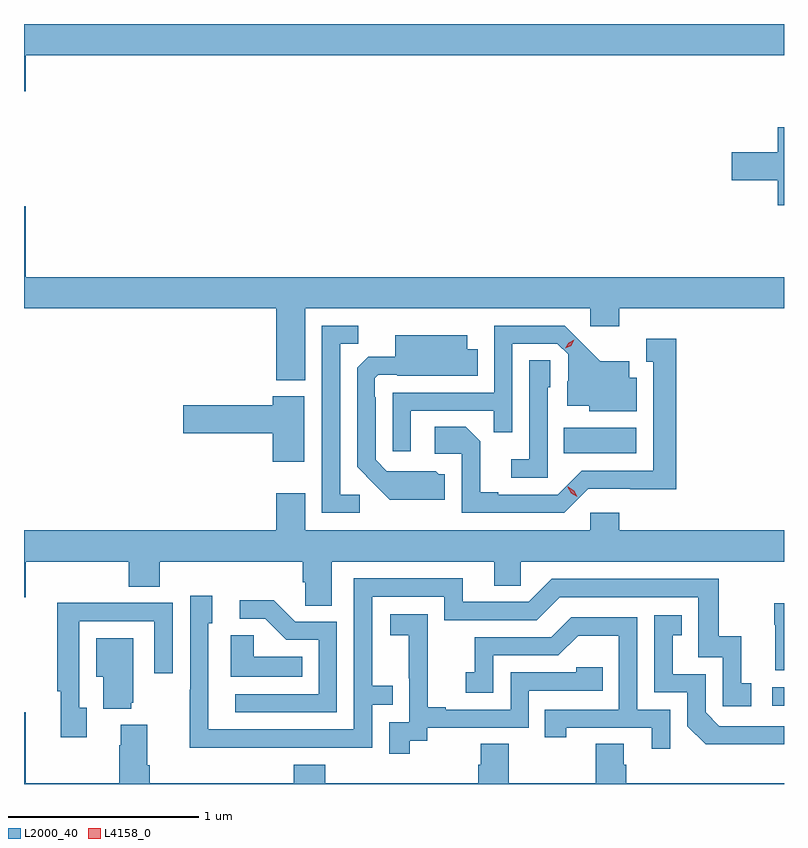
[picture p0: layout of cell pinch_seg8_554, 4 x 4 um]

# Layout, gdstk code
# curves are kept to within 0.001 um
import gdstk
lib = gdstk.Library(unit=1e-6, precision=1e-09)
def R(c, l, rs):  # rectangles x0, y0, x1, y1
    for r in rs: c.add(gdstk.rectangle(r[:2], r[2:], *l))
def P(c, l, *ps):  # polygons
    for p in ps: c.add(gdstk.Polygon(p, *l))
L2000_40 = (2000, 40)
L4158_0 = (4158, 0)

pinch_seg8_554 = lib.new_cell('pinch_seg8_554')
R(pinch_seg8_554, L2000_40, [(169.101,1106.418,169.163,1106.514), (168.004,1107.746,168.385,1107.88)])
P(pinch_seg8_554, L2000_40, [(165.172,1109.84),(169.163,1109.84),(169.163,1110.004),(168.765,1110.004),(168.765,1110.005),(168.626,1110.005),(168.626,1110.004),(167.857,1110.004),(167.857,1110.005),(167.717,1110.005),(167.717,1110.004),(166.767,1110.004),(166.767,1110.005),(166.628,1110.005),(166.628,1110.004),(165.163,1110.004),(165.163,1109.652),(165.172,1109.652)],
  [(169.163,1109.461),(169.13,1109.461),(169.13,1109.33),(168.888,1109.33),(168.888,1109.183),(169.13,1109.183),(169.13,1109.051),(169.163,1109.051)],
  [(166.642,1108.508),(168.144,1108.508),(168.144,1108.413),(168.296,1108.413),(168.296,1108.508),(169.163,1108.508),(169.163,1108.672),(165.172,1108.672),(165.172,1109.047),(165.163,1109.047),(165.163,1108.508),(166.49,1108.508),(166.49,1108.13),(166.642,1108.13)],
  [(167.199,1107.969),(167.635,1107.969),(167.635,1107.856),(167.733,1107.856),(167.733,1108.323),(167.97,1108.323),(168.027,1108.266),(168.027,1108.124),(168.023,1108.124),(168.023,1107.995),(168.138,1107.995),(168.138,1107.968),(168.388,1107.968),(168.388,1108.144),(168.349,1108.144),(168.349,1108.231),(168.197,1108.231),(168.01,1108.416),(167.637,1108.416),(167.637,1108.065),(167.103,1108.065),(167.103,1107.756),(167.199,1107.756)],
  [(166.93,1107.528),(166.827,1107.528),(166.827,1108.321),(166.923,1108.321),(166.923,1108.416),(166.731,1108.416),(166.731,1107.432),(166.93,1107.432)],
  [(167.377,1107.636),(167.346,1107.636),(167.33,1107.652),(167.073,1107.651),(167.013,1107.711),(167.013,1108.04),(167.01,1108.04),(167.01,1108.14),(167.028,1108.158),(167.128,1108.158),(167.128,1108.154),(167.552,1108.154),(167.552,1108.294),(167.497,1108.294),(167.497,1108.366),(167.117,1108.366),(167.117,1108.255),(166.976,1108.255),(166.917,1108.196),(166.917,1107.674),(167.089,1107.5),(167.377,1107.5)],
  [(168.132,1107.558),(168.595,1107.557),(168.595,1108.348),(168.437,1108.348),(168.437,1108.227),(168.476,1108.227),(168.476,1107.654),(168.099,1107.654),(167.973,1107.528),(167.659,1107.528),(167.659,1107.541),(167.565,1107.541),(167.565,1107.808),(167.489,1107.884),(167.325,1107.884),(167.325,1107.744),(167.466,1107.744),(167.466,1107.432),(168.006,1107.432)],
  [(167.919,1108.092),(167.934,1108.092),(167.934,1108.235),(167.823,1108.235),(167.823,1107.715),(167.727,1107.715),(167.727,1107.618),(167.919,1107.618)],
  [(166.639,1108.045),(166.472,1108.045),(166.472,1107.998),(166.002,1107.998),(166.002,1107.851),(166.472,1107.851),(166.472,1107.702),(166.639,1107.702)],
  [(166.642,1107.535),(166.49,1107.535),(166.49,1107.34),(165.163,1107.34),(165.163,1106.988),(165.172,1106.988),(165.172,1107.176),(165.713,1107.176),(165.713,1107.043),(165.878,1107.043),(165.878,1107.176),(166.631,1107.176),(166.631,1107.067),(166.644,1107.067),(166.644,1106.944),(166.783,1106.944),(166.783,1107.176),(167.639,1107.176),(167.639,1107.049),(167.778,1107.049),(167.778,1107.176),(169.163,1107.176),(169.163,1107.34),(168.296,1107.34),(168.296,1107.433),(168.144,1107.433),(168.144,1107.34),(166.642,1107.34)],
  [(166.499,1106.196),(166.995,1106.196),(166.995,1106.421),(167.105,1106.421),(167.105,1106.522),(166.995,1106.522),(166.995,1106.991),(167.376,1106.991),(167.376,1106.868),(167.862,1106.868),(167.982,1106.988),(168.711,1106.988),(168.711,1106.673),(168.84,1106.673),(168.84,1106.415),(168.991,1106.415),(168.991,1106.535),(168.938,1106.535),(168.938,1106.782),(168.82,1106.782),(168.82,1107.084),(167.94,1107.084),(167.82,1106.964),(167.473,1106.964),(167.473,1107.087),(166.899,1107.087),(166.899,1106.292),(166.134,1106.292),(166.134,1106.85),(166.153,1106.85),(166.153,1106.995),(166.038,1106.995),(166.038,1106.501),(166.036,1106.501),(166.036,1106.195)],
  [(166.809,1106.859),(166.59,1106.859),(166.477,1106.972),(166.299,1106.972),(166.299,1106.874),(166.433,1106.874),(166.544,1106.763),(166.713,1106.763),(166.713,1106.478),(166.275,1106.478),(166.275,1106.382),(166.809,1106.382)],
  [(165.493,1106.406),(165.453,1106.406),(165.453,1106.862),(165.849,1106.862),(165.849,1106.589),(165.945,1106.589),(165.945,1106.958),(165.629,1106.958),(165.629,1106.96),(165.337,1106.96),(165.337,1106.494),(165.356,1106.494),(165.356,1106.25),(165.493,1106.25)],
  [(169.163,1106.956),(169.111,1106.956),(169.111,1106.843),(169.118,1106.843),(169.118,1106.603),(169.163,1106.603)],
  [(167.194,1106.233),(167.286,1106.233),(167.286,1106.301),(167.82,1106.301),(167.82,1106.496),(168.209,1106.496),(168.209,1106.619),(168.069,1106.619),(168.069,1106.592),(167.724,1106.592),(167.724,1106.397),(167.383,1106.397),(167.383,1106.41),(167.288,1106.41),(167.288,1106.693),(167.289,1106.693),(167.289,1106.899),(167.091,1106.899),(167.091,1106.789),(167.189,1106.789),(167.189,1106.561),(167.19,1106.561),(167.19,1106.331),(167.085,1106.331),(167.085,1106.163),(167.194,1106.163)],
  [(169.16,1106.214),(169.163,1106.214),(169.163,1106.31),(168.822,1106.31),(168.75,1106.382),(168.75,1106.583),(168.577,1106.583),(168.577,1106.787),(168.626,1106.787),(168.626,1106.893),(168.48,1106.893),(168.48,1106.487),(168.654,1106.487),(168.654,1106.31),(168.752,1106.213)],
  [(168.564,1106.397),(168.39,1106.397),(168.39,1106.883),(168.044,1106.883),(167.939,1106.778),(167.536,1106.778),(167.536,1106.593),(167.487,1106.593),(167.487,1106.484),(167.634,1106.484),(167.634,1106.682),(167.976,1106.682),(168.08,1106.786),(168.294,1106.786),(168.294,1106.397),(167.905,1106.397),(167.905,1106.25),(168.016,1106.25),(168.016,1106.301),(168.467,1106.301),(168.467,1106.19),(168.564,1106.19)],
  [(166.628,1106.674),(166.371,1106.674),(166.371,1106.789),(166.25,1106.789),(166.25,1106.57),(166.628,1106.57)],
  [(165.728,1106.433),(165.739,1106.433),(165.739,1106.773),(165.542,1106.773),(165.542,1106.57),(165.581,1106.57),(165.581,1106.402),(165.728,1106.402)],
  [(169.163,1106.008),(168.332,1106.008),(168.332,1106.106),(168.319,1106.106),(168.319,1106.216),(168.172,1106.216),(168.172,1106.008),(167.715,1106.008),(167.715,1106.216),(167.567,1106.216),(167.567,1106.106),(167.555,1106.106),(167.555,1106.008),(166.748,1106.008),(166.748,1106.107),(166.583,1106.107),(166.583,1106.008),(165.824,1106.008),(165.824,1106.104),(165.811,1106.104),(165.811,1106.317),(165.671,1106.317),(165.671,1106.21),(165.664,1106.21),(165.664,1106.008),(165.172,1106.008),(165.172,1106.383),(165.163,1106.383),(165.163,1106.005),(169.163,1106.005)])
P(pinch_seg8_554, L4158_0, [(168.076,1107.516),(168.044,1107.536),(168.026,1107.568),(168.026,1107.569),(168.027,1107.569),(168.058,1107.549),(168.076,1107.517),(168.076,1107.516)],
  [(168.012,1108.298),(168.012,1108.298),(168.029,1108.327),(168.06,1108.342),(168.06,1108.342),(168.06,1108.342),(168.043,1108.312),(168.012,1108.298)])

lib.write_gds('pinch_seg8_554.gds')
